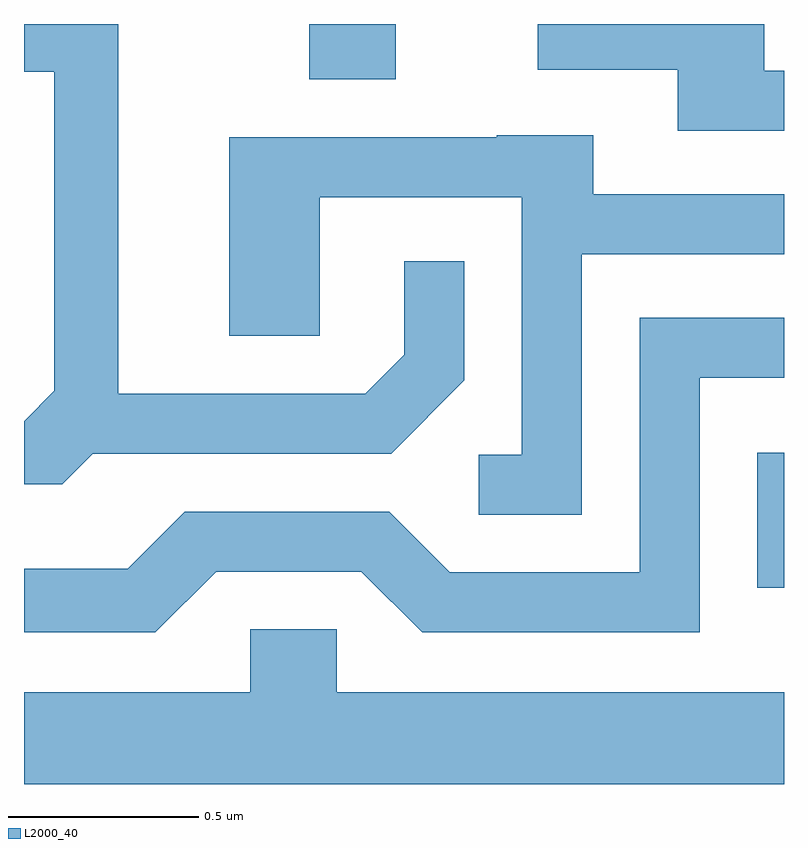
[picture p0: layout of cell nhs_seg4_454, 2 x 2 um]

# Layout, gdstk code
import gdstk
lib = gdstk.Library(unit=1e-6, precision=1e-09)
def R(c, l, rs):  # rectangles x0, y0, x1, y1
    for r in rs: c.add(gdstk.rectangle(r[:2], r[2:], *l))
def P(c, l, *ps):  # polygons
    for p in ps: c.add(gdstk.Polygon(p, *l))
L2000_40 = (2000, 40)

nhs_seg4_454 = lib.new_cell('nhs_seg4_454')
R(nhs_seg4_454, L2000_40, [(190.541,1297.498,190.611,1297.854), (189.361,1298.836,189.589,1298.982)])
P(nhs_seg4_454, L2000_40, [(188.792,1297.851),(189.577,1297.851),(189.769,1298.044),(189.769,1298.358),(189.611,1298.358),(189.611,1298.112),(189.509,1298.009),(188.859,1298.009),(188.859,1298.982),(188.611,1298.982),(188.611,1298.856),(188.691,1298.856),(188.691,1298.017),(188.611,1297.936),(188.611,1297.771),(188.712,1297.771)],
  [(190.611,1298.859),(190.559,1298.859),(190.559,1298.982),(189.963,1298.982),(189.963,1298.861),(190.331,1298.861),(190.331,1298.701),(190.611,1298.701)],
  [(190.079,1298.376),(190.611,1298.376),(190.611,1298.534),(190.109,1298.534),(190.109,1298.689),(189.855,1298.689),(189.855,1298.684),(189.151,1298.684),(189.151,1298.161),(189.389,1298.161),(189.389,1298.526),(189.921,1298.526),(189.921,1297.849),(189.808,1297.849),(189.808,1297.691),(190.079,1297.691)],
  [(189.117,1297.541),(189.499,1297.541),(189.659,1297.381),(190.389,1297.381),(190.389,1298.051),(190.611,1298.051),(190.611,1298.209),(190.231,1298.209),(190.231,1297.539),(189.732,1297.539),(189.572,1297.699),(189.034,1297.699),(188.884,1297.549),(188.611,1297.549),(188.611,1297.381),(188.957,1297.381)],
  [(190.611,1297.224),(189.434,1297.224),(189.434,1297.389),(189.206,1297.389),(189.206,1297.224),(188.611,1297.224),(188.611,1296.982),(190.611,1296.982)])

lib.write_gds('nhs_seg4_454.gds')
